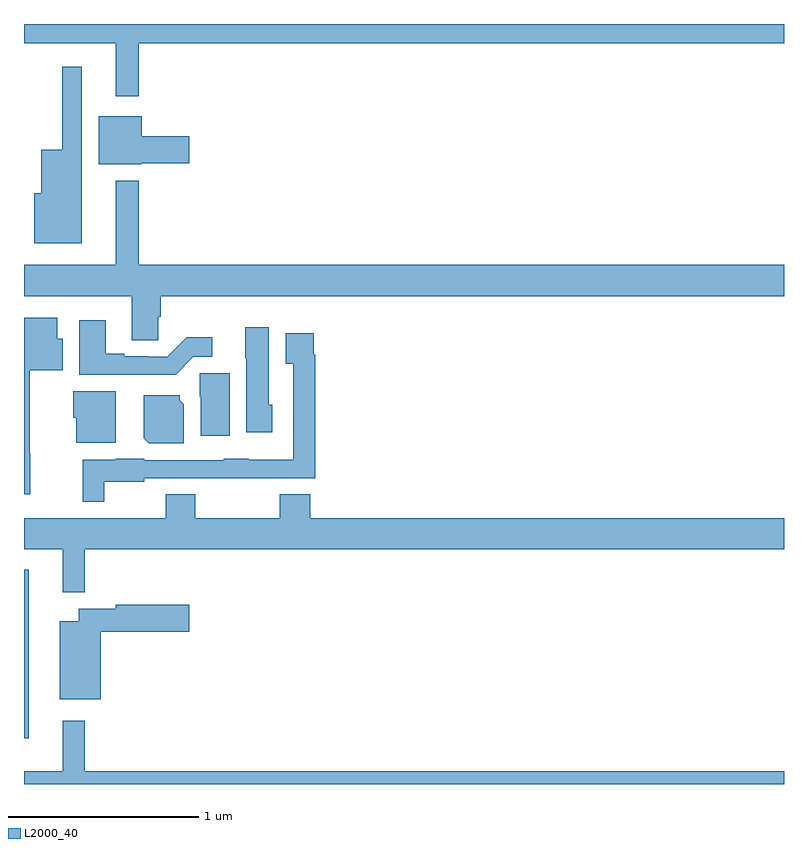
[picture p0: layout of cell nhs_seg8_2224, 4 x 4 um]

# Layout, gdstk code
import gdstk
lib = gdstk.Library(unit=1e-6, precision=1e-09)
def R(c, l, rs):  # rectangles x0, y0, x1, y1
    for r in rs: c.add(gdstk.rectangle(r[:2], r[2:], *l))
def P(c, l, *ps):  # polygons
    for p in ps: c.add(gdstk.Polygon(p, *l))
L2000_40 = (2000, 40)

nhs_seg8_2224 = lib.new_cell('nhs_seg8_2224')
R(nhs_seg8_2224, L2000_40, [(251,1146.14,251.026,1147.027)])
P(nhs_seg8_2224, L2000_40, [(251.605,1149.8),(255,1149.8),(255,1149.9),(251,1149.9),(251,1149.8),(251.483,1149.8),(251.483,1149.519),(251.605,1149.519)],
  [(251.305,1149.676),(251.201,1149.676),(251.201,1149.238),(251.09,1149.238),(251.09,1149.01),(251.054,1149.01),(251.054,1148.747),(251.305,1148.747)],
  [(251.616,1149.167),(251.869,1149.167),(251.869,1149.309),(251.62,1149.309),(251.62,1149.415),(251.393,1149.415),(251.393,1149.161),(251.616,1149.161)],
  [(251.706,1148.358),(251.72,1148.358),(251.72,1148.468),(255,1148.468),(255,1148.632),(251.605,1148.632),(251.605,1149.076),(251.483,1149.076),(251.483,1148.632),(251,1148.632),(251,1148.468),(251.567,1148.468),(251.567,1148.236),(251.706,1148.236)],
  [(251.032,1147.637),(251.029,1147.637),(251.029,1148.078),(251.203,1148.078),(251.203,1148.244),(251.176,1148.244),(251.176,1148.353),(251,1148.353),(251,1147.425),(251.032,1147.425)],
  [(251.892,1148.148),(251.992,1148.148),(251.992,1148.251),(251.857,1148.251),(251.754,1148.148),(251.654,1148.148),(251.654,1148.151),(251.527,1148.151),(251.527,1148.164),(251.431,1148.164),(251.431,1148.341),(251.291,1148.341),(251.291,1148.054),(251.798,1148.054)],
  [(252.307,1147.896),(252.289,1147.896),(252.289,1148.305),(252.164,1148.305),(252.164,1148.142),(252.17,1148.142),(252.17,1147.752),(252.307,1147.752)],
  [(251.422,1147.49),(251.634,1147.49),(251.634,1147.509),(252.051,1147.509),(252.051,1147.508),(252.283,1147.508),(252.283,1147.509),(252.533,1147.509),(252.533,1148.159),(252.526,1148.159),(252.526,1148.272),(252.377,1148.272),(252.377,1148.111),(252.417,1148.111),(252.417,1147.606),(252.183,1147.606),(252.183,1147.612),(252.051,1147.612),(252.051,1147.605),(251.634,1147.605),(251.634,1147.612),(251.484,1147.612),(251.484,1147.606),(251.308,1147.606),(251.308,1147.385),(251.422,1147.385)],
  [(252.082,1148.061),(251.926,1148.061),(251.926,1147.938),(251.93,1147.938),(251.93,1147.734),(252.082,1147.734)],
  [(251.482,1147.966),(251.258,1147.966),(251.258,1147.827),(251.276,1147.827),(251.276,1147.697),(251.482,1147.697)],
  [(251.842,1147.898),(251.82,1147.92),(251.82,1147.945),(251.63,1147.945),(251.63,1147.72),(251.656,1147.694),(251.842,1147.694)],
  [(251.321,1147.136),(255,1147.136),(255,1147.3),(252.506,1147.3),(252.506,1147.424),(252.346,1147.424),(252.346,1147.3),(251.901,1147.3),(251.901,1147.424),(251.746,1147.424),(251.746,1147.3),(251,1147.3),(251,1147.136),(251.204,1147.136),(251.204,1146.908),(251.321,1146.908)],
  [(251.404,1146.701),(251.869,1146.701),(251.869,1146.843),(251.484,1146.843),(251.484,1146.823),(251.288,1146.823),(251.288,1146.757),(251.189,1146.757),(251.189,1146.347),(251.404,1146.347)],
  [(255,1145.968),(251.321,1145.968),(251.321,1146.232),(251.203,1146.232),(251.203,1145.968),(251,1145.968),(251,1145.9),(255,1145.9)])

lib.write_gds('nhs_seg8_2224.gds')
